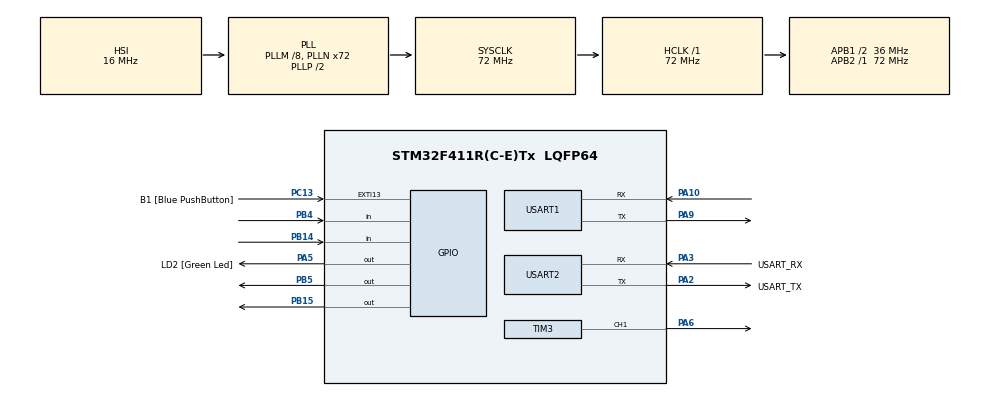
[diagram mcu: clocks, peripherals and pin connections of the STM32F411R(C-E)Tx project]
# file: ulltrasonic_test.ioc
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FREERTOS.Tasks01=defaultTask,0,128,StartDefaultTask,Default,NULL,Dynamic,NULL,NULL;myTask02,-3,128,StartTask02,Default,NULL,Dynamic,NULL,NULL;myTask03,-3,128,StartTask03,Default,NULL,Dynamic,NULL,NULL;myTask04,-3,128,StartTask04,Default,NULL,Dynamic,NULL,NULL
Mcu.Family=STM32F4
Mcu.Name=STM32F411R(C-E)Tx
Mcu.Package=LQFP64
NVIC.PriorityGroup=NVIC_PRIORITYGROUP_4
NVIC.TIM3_IRQn=true\:5\:0\:false\:false\:true\:true\:true\:true\:true
PA10.Mode=Asynchronous
PA10.Signal=USART1_RX
PA13.GPIO_Label=TMS
PA13.Mode=Serial_Wire
PA13.Signal=SYS_JTMS-SWDIO
PA14.GPIO_Label=TCK
PA14.Mode=Serial_Wire
PA14.Signal=SYS_JTCK-SWCLK
PA2.GPIO_Label=USART_TX
PA2.Mode=Asynchronous
PA2.Signal=USART2_TX
PA3.GPIO_Label=USART_RX
PA3.Mode=Asynchronous
PA3.Signal=USART2_RX
PA5.GPIO_Label=LD2 [Green Led]
PA5.Signal=GPIO_Output
PA6.Signal=S_TIM3_CH1
PA9.Mode=Asynchronous
PA9.Signal=USART1_TX
PB14.Signal=GPIO_Input
PB15.Signal=GPIO_Output
PB3.GPIO_Label=SWO
PB3.Signal=SYS_JTDO-SWO
PB4.Signal=GPIO_Input
PB5.Signal=GPIO_Output
PC13-ANTI_TAMP.GPIO_Label=B1 [Blue PushButton]
PC13-ANTI_TAMP.GPIO_ModeDefaultEXTI=GPIO_MODE_IT_FALLING
PC13-ANTI_TAMP.Signal=GPXTI13
PC14-OSC32_IN.Signal=RCC_OSC32_IN
PC15-OSC32_OUT.Signal=RCC_OSC32_OUT
PH0\ -\ OSC_IN.Mode=HSE-External-Oscillator
PH0\ -\ OSC_IN.Signal=RCC_OSC_IN
PH1\ -\ OSC_OUT.Mode=HSE-External-Oscillator
PH1\ -\ OSC_OUT.Signal=RCC_OSC_OUT
ProjectManager.HeapSize=0x200
ProjectManager.StackSize=0x400
ProjectManager.TargetToolchain=STM32CubeIDE
RCC.48MHZClocksFreq_Value=36000000
RCC.AHBFreq_Value=72000000
RCC.APB1CLKDivider=RCC_HCLK_DIV2
RCC.APB1Freq_Value=36000000
RCC.APB1TimFreq_Value=72000000
RCC.APB2Freq_Value=72000000
RCC.APB2TimFreq_Value=72000000
RCC.CortexFreq_Value=72000000
RCC.FLatency-AdvancedSettings=FLASH_LATENCY_2
RCC.HCLKFreq_Value=72000000
RCC.HSE_VALUE=8000000
RCC.HSI_VALUE=16000000
RCC.LSE_VALUE=32768
RCC.PLLM=8
RCC.PLLN=72
RCC.SYSCLKFreq_VALUE=72000000
RCC.SYSCLKSource=RCC_SYSCLKSOURCE_PLLCLK
RCC.VCOOutputFreq_Value=144000000
SH.S_TIM3_CH1.0=TIM3_CH1,PWM Generation1 CH1
TIM1.Prescaler=71
TIM2.Prescaler=72
TIM3.Channel-PWM\ Generation1\ CH1=TIM_CHANNEL_1
TIM3.Period=1000-1
TIM3.Prescaler=1440-1
USART1.VirtualMode=VM_ASYNC
USART2.VirtualMode=VM_ASYNC
VP_FREERTOS_VS_CMSIS_V1.Mode=CMSIS_V1
VP_TIM1_VS_ClockSourceINT.Mode=Internal
VP_TIM2_VS_ClockSourceINT.Mode=Internal
VP_TIM3_VS_ClockSourceINT.Mode=Internal
board=NUCLEO-F411RE

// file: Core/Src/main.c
/* USER CODE BEGIN Header */
/**
  ******************************************************************************
  * @file           : main.c
  * @brief          : Main program body
  ******************************************************************************
  * @attention
  *
  * Copyright (c) 2024 STMicroelectronics.
  * All rights reserved.
  *
  * This software is licensed under terms that can be found in the LICENSE file
  * in the root directory of this software component.
  * If no LICENSE file comes with this software, it is provided AS-IS.
  *
  ******************************************************************************
  */
/* USER CODE END Header */
#include "main.h"
#include "cmsis_os.h"

TIM_HandleTypeDef htim1;
TIM_HandleTypeDef htim2;
TIM_HandleTypeDef htim3;

UART_HandleTypeDef huart1;
UART_HandleTypeDef huart2;

osThreadId defaultTaskHandle;
osThreadId myTask02Handle;
osThreadId myTask03Handle;
osThreadId myTask04Handle;
/* USER CODE BEGIN PV */
#define TRIG_PIN GPIO_PIN_15
#define TRIG_PORT GPIOB
#define ECHO_PIN GPIO_PIN_14
#define ECHO_PORT GPIOB

#define TRIG_PIN2 GPIO_PIN_5
#define TRIG_PORT2 GPIOB
#define ECHO_PIN2 GPIO_PIN_4
#define ECHO_PORT2 GPIOB

uint32_t pMillis;
uint32_t Value1 = 0;
uint32_t Value2 = 0;
uint16_t Distance  = 11;  // cm

uint32_t t;
int angle_val = 45, ch1=0, ch2=1;
/* USER CODE END PV */

void SystemClock_Config(void);
static void MX_GPIO_Init(void);
static void MX_USART2_UART_Init(void);
static void MX_TIM1_Init(void);
static void MX_TIM2_Init(void);
static void MX_TIM3_Init(void);
static void MX_USART1_UART_Init(void);
void StartDefaultTask(void const * argument);
void StartTask02(void const * argument);
void StartTask03(void const * argument);
void StartTask04(void const * argument);

int main(void)
{

  /* MCU Configuration--------------------------------------------------------*/

  /* Reset of all peripherals, Initializes the Flash interface and the Systick. */
  HAL_Init();

  /* Configure the system clock */
  SystemClock_Config();

  /* Initialize all configured peripherals */
  MX_GPIO_Init();
  MX_USART2_UART_Init();
  MX_TIM1_Init();
  MX_TIM2_Init();
  MX_TIM3_Init();
  MX_USART1_UART_Init();
  /* USER CODE BEGIN 2 */

  HAL_TIM_PWM_Start(&htim3, TIM_CHANNEL_1);

  HAL_TIM_Base_Start(&htim1);
  HAL_GPIO_WritePin(TRIG_PORT, TRIG_PIN, GPIO_PIN_RESET);  // pull the TRIG pin low

  HAL_TIM_Base_Start(&htim2);
  HAL_GPIO_WritePin(TRIG_PORT2, TRIG_PIN2, GPIO_PIN_RESET);  // pull the TRIG pin low
  /* USER CODE END 2 */

  /* Create the thread(s) */
  /* definition and creation of defaultTask */
  osThreadDef(defaultTask, StartDefaultTask, osPriorityNormal, 0, 128);
  defaultTaskHandle = osThreadCreate(osThread(defaultTask), NULL);

  /* definition and creation of myTask02 */
  osThreadDef(myTask02, StartTask02, osPriorityIdle, 0, 128);
  myTask02Handle = osThreadCreate(osThread(myTask02), NULL);

  /* definition and creation of myTask03 */
  osThreadDef(myTask03, StartTask03, osPriorityIdle, 0, 128);
  myTask03Handle = osThreadCreate(osThread(myTask03), NULL);

  /* definition and creation of myTask04 */
  osThreadDef(myTask04, StartTask04, osPriorityIdle, 0, 128);
  myTask04Handle = osThreadCreate(osThread(myTask04), NULL);

  /* Start scheduler */
  osKernelStart();

  /* We should never get here as control is now taken by the scheduler */
  /* Infinite loop */
     while (1)
     {

     }
}

void SystemClock_Config(void)
{
  RCC_OscInitTypeDef RCC_OscInitStruct = {0};
  RCC_ClkInitTypeDef RCC_ClkInitStruct = {0};

  /** Configure the main internal regulator output voltage
  */
  __HAL_RCC_PWR_CLK_ENABLE();
  __HAL_PWR_VOLTAGESCALING_CONFIG(PWR_REGULATOR_VOLTAGE_SCALE1);

  /** Initializes the RCC Oscillators according to the specified parameters
  * in the RCC_OscInitTypeDef structure.
  */
  RCC_OscInitStruct.OscillatorType = RCC_OSCILLATORTYPE_HSI;
  RCC_OscInitStruct.HSIState = RCC_HSI_ON;
  RCC_OscInitStruct.HSICalibrationValue = RCC_HSICALIBRATION_DEFAULT;
  RCC_OscInitStruct.PLL.PLLState = RCC_PLL_ON;
  RCC_OscInitStruct.PLL.PLLSource = RCC_PLLSOURCE_HSI;
  RCC_OscInitStruct.PLL.PLLM = 8;
  RCC_OscInitStruct.PLL.PLLN = 72;
  RCC_OscInitStruct.PLL.PLLP = RCC_PLLP_DIV2;
  RCC_OscInitStruct.PLL.PLLQ = 4;
  if (HAL_RCC_OscConfig(&RCC_OscInitStruct) != HAL_OK)
  {
    Error_Handler();
  }

  /** Initializes the CPU, AHB and APB buses clocks
  */
  RCC_ClkInitStruct.ClockType = RCC_CLOCKTYPE_HCLK|RCC_CLOCKTYPE_SYSCLK
                              |RCC_CLOCKTYPE_PCLK1|RCC_CLOCKTYPE_PCLK2;
  RCC_ClkInitStruct.SYSCLKSource = RCC_SYSCLKSOURCE_PLLCLK;
  RCC_ClkInitStruct.AHBCLKDivider = RCC_SYSCLK_DIV1;
  RCC_ClkInitStruct.APB1CLKDivider = RCC_HCLK_DIV2;
  RCC_ClkInitStruct.APB2CLKDivider = RCC_HCLK_DIV1;

  if (HAL_RCC_ClockConfig(&RCC_ClkInitStruct, FLASH_LATENCY_2) != HAL_OK)
  {
    Error_Handler();
  }
}

static void MX_TIM1_Init(void)
{

  TIM_ClockConfigTypeDef sClockSourceConfig = {0};
  TIM_MasterConfigTypeDef sMasterConfig = {0};

  htim1.Instance = TIM1;
  htim1.Init.Prescaler = 71;
  htim1.Init.CounterMode = TIM_COUNTERMODE_UP;
  htim1.Init.Period = 65535;
  htim1.Init.ClockDivision = TIM_CLOCKDIVISION_DIV1;
  htim1.Init.RepetitionCounter = 0;
  htim1.Init.AutoReloadPreload = TIM_AUTORELOAD_PRELOAD_DISABLE;
  if (HAL_TIM_Base_Init(&htim1) != HAL_OK)
  {
    Error_Handler();
  }
  sClockSourceConfig.ClockSource = TIM_CLOCKSOURCE_INTERNAL;
  if (HAL_TIM_ConfigClockSource(&htim1, &sClockSourceConfig) != HAL_OK)
  {
    Error_Handler();
  }
  sMasterConfig.MasterOutputTrigger = TIM_TRGO_RESET;
  sMasterConfig.MasterSlaveMode = TIM_MASTERSLAVEMODE_DISABLE;
  if (HAL_TIMEx_MasterConfigSynchronization(&htim1, &sMasterConfig) != HAL_OK)
  {
    Error_Handler();
  }

}

static void MX_TIM2_Init(void)
{

  TIM_ClockConfigTypeDef sClockSourceConfig = {0};
  TIM_MasterConfigTypeDef sMasterConfig = {0};

  htim2.Instance = TIM2;
  htim2.Init.Prescaler = 72;
  htim2.Init.CounterMode = TIM_COUNTERMODE_UP;
  htim2.Init.Period = 4294967295;
  htim2.Init.ClockDivision = TIM_CLOCKDIVISION_DIV1;
  htim2.Init.AutoReloadPreload = TIM_AUTORELOAD_PRELOAD_DISABLE;
  if (HAL_TIM_Base_Init(&htim2) != HAL_OK)
  {
    Error_Handler();
  }
  sClockSourceConfig.ClockSource = TIM_CLOCKSOURCE_INTERNAL;
  if (HAL_TIM_ConfigClockSource(&htim2, &sClockSourceConfig) != HAL_OK)
  {
    Error_Handler();
  }
  sMasterConfig.MasterOutputTrigger = TIM_TRGO_RESET;
  sMasterConfig.MasterSlaveMode = TIM_MASTERSLAVEMODE_DISABLE;
  if (HAL_TIMEx_MasterConfigSynchronization(&htim2, &sMasterConfig) != HAL_OK)
  {
    Error_Handler();
  }

}

static void MX_TIM3_Init(void)
{

  TIM_ClockConfigTypeDef sClockSourceConfig = {0};
  TIM_MasterConfigTypeDef sMasterConfig = {0};
  TIM_OC_InitTypeDef sConfigOC = {0};

  htim3.Instance = TIM3;
  htim3.Init.Prescaler = 1440-1;
  htim3.Init.CounterMode = TIM_COUNTERMODE_UP;
  htim3.Init.Period = 1000-1;
  htim3.Init.ClockDivision = TIM_CLOCKDIVISION_DIV1;
  htim3.Init.AutoReloadPreload = TIM_AUTORELOAD_PRELOAD_DISABLE;
  if (HAL_TIM_Base_Init(&htim3) != HAL_OK)
  {
    Error_Handler();
  }
  sClockSourceConfig.ClockSource = TIM_CLOCKSOURCE_INTERNAL;
  if (HAL_TIM_ConfigClockSource(&htim3, &sClockSourceConfig) != HAL_OK)
  {
    Error_Handler();
  }
  if (HAL_TIM_PWM_Init(&htim3) != HAL_OK)
  {
    Error_Handler();
  }
  sMasterConfig.MasterOutputTrigger = TIM_TRGO_RESET;
  sMasterConfig.MasterSlaveMode = TIM_MASTERSLAVEMODE_DISABLE;
  if (HAL_TIMEx_MasterConfigSynchronization(&htim3, &sMasterConfig) != HAL_OK)
  {
    Error_Handler();
  }
  sConfigOC.OCMode = TIM_OCMODE_PWM1;
  sConfigOC.Pulse = 0;
  sConfigOC.OCPolarity = TIM_OCPOLARITY_HIGH;
  sConfigOC.OCFastMode = TIM_OCFAST_DISABLE;
  if (HAL_TIM_PWM_ConfigChannel(&htim3, &sConfigOC, TIM_CHANNEL_1) != HAL_OK)
  {
    Error_Handler();
  }
  HAL_TIM_MspPostInit(&htim3);

}

static void MX_USART1_UART_Init(void)
{

  huart1.Instance = USART1;
  huart1.Init.BaudRate = 115200;
  huart1.Init.WordLength = UART_WORDLENGTH_8B;
  huart1.Init.StopBits = UART_STOPBITS_1;
  huart1.Init.Parity = UART_PARITY_NONE;
  huart1.Init.Mode = UART_MODE_TX_RX;
  huart1.Init.HwFlowCtl = UART_HWCONTROL_NONE;
  huart1.Init.OverSampling = UART_OVERSAMPLING_16;
  if (HAL_UART_Init(&huart1) != HAL_OK)
  {
    Error_Handler();
  }

}

static void MX_USART2_UART_Init(void)
{

  huart2.Instance = USART2;
  huart2.Init.BaudRate = 115200;
  huart2.Init.WordLength = UART_WORDLENGTH_8B;
  huart2.Init.StopBits = UART_STOPBITS_1;
  huart2.Init.Parity = UART_PARITY_NONE;
  huart2.Init.Mode = UART_MODE_TX_RX;
  huart2.Init.HwFlowCtl = UART_HWCONTROL_NONE;
  huart2.Init.OverSampling = UART_OVERSAMPLING_16;
  if (HAL_UART_Init(&huart2) != HAL_OK)
  {
    Error_Handler();
  }

}

static void MX_GPIO_Init(void)
{
  GPIO_InitTypeDef GPIO_InitStruct = {0};

  /* GPIO Ports Clock Enable */
  __HAL_RCC_GPIOC_CLK_ENABLE();
  __HAL_RCC_GPIOH_CLK_ENABLE();
  __HAL_RCC_GPIOA_CLK_ENABLE();
  __HAL_RCC_GPIOB_CLK_ENABLE();

  /*Configure GPIO pin Output Level */
  HAL_GPIO_WritePin(LD2_GPIO_Port, LD2_Pin, GPIO_PIN_RESET);

  /*Configure GPIO pin Output Level */
  HAL_GPIO_WritePin(GPIOB, GPIO_PIN_15|GPIO_PIN_5, GPIO_PIN_RESET);

  /*Configure GPIO pin : B1_Pin */
  GPIO_InitStruct.Pin = B1_Pin;
  GPIO_InitStruct.Mode = GPIO_MODE_IT_FALLING;
  GPIO_InitStruct.Pull = GPIO_NOPULL;
  HAL_GPIO_Init(B1_GPIO_Port, &GPIO_InitStruct);

  /*Configure GPIO pin : LD2_Pin */
  GPIO_InitStruct.Pin = LD2_Pin;
  GPIO_InitStruct.Mode = GPIO_MODE_OUTPUT_PP;
  GPIO_InitStruct.Pull = GPIO_NOPULL;
  GPIO_InitStruct.Speed = GPIO_SPEED_FREQ_LOW;
  HAL_GPIO_Init(LD2_GPIO_Port, &GPIO_InitStruct);

  /*Configure GPIO pins : PB14 PB4 */
  GPIO_InitStruct.Pin = GPIO_PIN_14|GPIO_PIN_4;
  GPIO_InitStruct.Mode = GPIO_MODE_INPUT;
  GPIO_InitStruct.Pull = GPIO_NOPULL;
  HAL_GPIO_Init(GPIOB, &GPIO_InitStruct);

  /*Configure GPIO pins : PB15 PB5 */
  GPIO_InitStruct.Pin = GPIO_PIN_15|GPIO_PIN_5;
  GPIO_InitStruct.Mode = GPIO_MODE_OUTPUT_PP;
  GPIO_InitStruct.Pull = GPIO_NOPULL;
  GPIO_InitStruct.Speed = GPIO_SPEED_FREQ_LOW;
  HAL_GPIO_Init(GPIOB, &GPIO_InitStruct);

}

void StartDefaultTask(void const * argument)
{
  for(;;)
  {
    osDelay(1);
  }
}

void StartTask02(void const * argument)
{
  /* USER CODE BEGIN StartTask02 */
  /* Infinite loop */
	char buffer[32];
	for(;;) {
	    HAL_GPIO_WritePin(TRIG_PORT, TRIG_PIN, GPIO_PIN_SET);  // pull the TRIG pin HIGH
	    __HAL_TIM_SET_COUNTER(&htim1, 0);
	    while (__HAL_TIM_GET_COUNTER (&htim1) < 10);  // wait for 10 us
	    HAL_GPIO_WritePin(TRIG_PORT, TRIG_PIN, GPIO_PIN_RESET);  // pull the TRIG pin low

	    pMillis = HAL_GetTick(); // used this to avoid infinite while loop  (for timeout)
	    // wait for the echo pin to go high
	    while (!(HAL_GPIO_ReadPin (ECHO_PORT, ECHO_PIN)) && pMillis + 10 >  HAL_GetTick());
	    Value1 = __HAL_TIM_GET_COUNTER (&htim1);

	    pMillis = HAL_GetTick(); // used this to avoid infinite while loop (for timeout)
	    // wait for the echo pin to go low
	    while ((HAL_GPIO_ReadPin (ECHO_PORT, ECHO_PIN)) && pMillis + 50 > HAL_GetTick());
	    Value2 = __HAL_TIM_GET_COUNTER (&htim1);

	    Distance = (Value2-Value1)* 0.034/2;
	    if(Distance < 10 && ch1 == 0){
	    	t = HAL_GetTick();
	    	ch1 = 1;
	    	ch2 = 0;
	    	angle_val = 45;
	    }
	    uint8_t sz = sprintf(buffer, "Servo 1: %d\r\n", Distance);
	    HAL_UART_Transmit(&huart2, buffer, sz, 1000);
	    osDelay(50);
	}
  /* USER CODE END StartTask02 */
}

void StartTask03(void const * argument)
{
  /* USER CODE BEGIN StartTask03 */
  /* Infinite loop */
	char buffer[32],bufferT[32];
	for(;;) {
		    HAL_GPIO_WritePin(TRIG_PORT2, TRIG_PIN2, GPIO_PIN_SET);  // pull the TRIG pin HIGH
		    __HAL_TIM_SET_COUNTER(&htim2, 0);
		    while (__HAL_TIM_GET_COUNTER (&htim2) < 10);  // wait for 10 us
		    HAL_GPIO_WritePin(TRIG_PORT2, TRIG_PIN2, GPIO_PIN_RESET);  // pull the TRIG pin low

		    pMillis = HAL_GetTick(); // used this to avoid infinite while loop  (for timeout)
		    // wait for the echo pin to go high
		    while (!(HAL_GPIO_ReadPin (ECHO_PORT2, ECHO_PIN2)) && pMillis + 10 >  HAL_GetTick());
		    Value1 = __HAL_TIM_GET_COUNTER (&htim2);

		    pMillis = HAL_GetTick(); // used this to avoid infinite while loop (for timeout)
		    // wait for the echo pin to go low
		    while ((HAL_GPIO_ReadPin (ECHO_PORT2, ECHO_PIN2)) && pMillis + 50 > HAL_GetTick());
		    Value2 = __HAL_TIM_GET_COUNTER (&htim2);

		    Distance = (Value2-Value1)* 0.034/2;
		    if(Distance < 10 && ch2 == 0){
		    	uint16_t timePass = HAL_GetTick() - t;
		    	if(timePass < 2000){
		    		angle_val = 105;
		    	}
		    	uint16_t tTime = sprintf(bufferT,"%d", timePass);
		    	HAL_UART_Transmit(&huart1,bufferT,tTime,1000);
		    	osDelay(300);
		    	ch2 = 1;
		    	ch1 = 0;
		    }
		    uint8_t sz = sprintf(buffer, "Servo 2: %d\r\n", Distance);
		    HAL_UART_Transmit(&huart2, buffer, sz, 1000);
		    osDelay(50);
		}
  /* USER CODE END StartTask03 */
}

void StartTask04(void const * argument)
{
  /* USER CODE BEGIN StartTask04 */
  /* Infinite loop */
  for(;;)
  {
	  htim3.Instance->CCR1 = angle_val;
	  osDelay(500);
	  osDelay(1);
  }
  /* USER CODE END StartTask04 */
}

void Error_Handler(void)
{
  __disable_irq();
  while (1)
  {
  }
}
